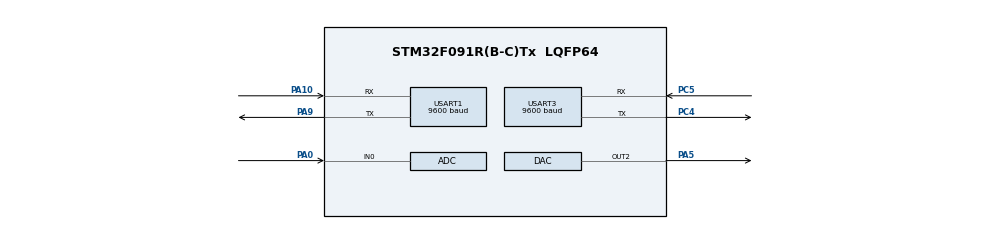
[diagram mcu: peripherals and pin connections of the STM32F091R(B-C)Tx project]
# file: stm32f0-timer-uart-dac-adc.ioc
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ADC.ExternalTrigConv=ADC_EXTERNALTRIGCONV_T3_TRGO
ADC.Resolution=ADC_RESOLUTION_8B
Mcu.Family=STM32F0
Mcu.Name=STM32F091R(B-C)Tx
Mcu.Package=LQFP64
NVIC.ADC1_COMP_IRQn=true\:0\:0\:false\:false\:true\:true\:true\:true
NVIC.TIM2_IRQn=true\:0\:0\:false\:false\:true\:true\:true\:true
NVIC.USART3_8_IRQn=true\:0\:0\:false\:false\:true\:true\:true\:true
PA0.Mode=IN0
PA0.Signal=ADC_IN0
PA10.Mode=Asynchronous
PA10.Signal=USART1_RX
PA5.Signal=COMP_DAC2_group
PA9.Mode=Asynchronous
PA9.Signal=USART1_TX
PC4.Mode=Asynchronous
PC4.Signal=USART3_TX
PC5.Mode=Asynchronous
PC5.Signal=USART3_RX
ProjectManager.HeapSize=0x200
ProjectManager.StackSize=0x400
ProjectManager.TargetToolchain=STM32CubeIDE
SH.COMP_DAC2_group.0=DAC_OUT2,DAC_OUT2
TIM2.Period=2000000-1
TIM2.Prescaler=8-1
TIM3.Period=50000-1
TIM3.Prescaler=80-1
TIM3.TIM_MasterOutputTrigger=TIM_TRGO_UPDATE
USART1.BaudRate=9600
USART1.Mode=MODE_TX_RX
USART1.VirtualMode-Asynchronous=VM_ASYNC
USART3.BaudRate=9600
USART3.VirtualMode-Asynchronous=VM_ASYNC
VP_TIM2_VS_ClockSourceINT.Mode=Internal
VP_TIM3_VS_ClockSourceINT.Mode=Internal
board=custom

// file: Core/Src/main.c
/* USER CODE BEGIN Header */
/**
  ******************************************************************************
  * @file           : main.c
  * @brief          : Main program body
  * @author         : M. Eyub Can, TECH-OHM (https://tech-ohm.com)
  ******************************************************************************
  * @attention
  *
  * Copyright (c) 2025 STMicroelectronics.
  * All rights reserved.
  *
  * This software is licensed under terms that can be found in the LICENSE file
  * in the root directory of this software component.
  * If no LICENSE file comes with this software, it is provided AS-IS.
  *
  ******************************************************************************
  */
/* USER CODE END Header */
#include "main.h"

/* USER CODE BEGIN Includes */
uint8_t dizi[50] = { // 50 values, sent one after another
  45, 198, 7, 123, 56, 214, 89, 34, 167, 92,
  201, 18, 140, 76, 255, 61, 9, 173, 48, 130,
  84, 221, 37, 159, 102, 5, 188, 66, 147, 29,
  210, 95, 12, 171, 53, 199, 81, 164, 24, 136,
  72, 205, 41, 156, 98, 15, 182, 63, 119, 231
};
// UART receive variables
volatile uint8_t rx_byte = 0;
volatile uint8_t idx = 0;
int count=0; // number of bytes sent
volatile uint8_t adc_value = 0;
/* USER CODE END Includes */

ADC_HandleTypeDef hadc;

DAC_HandleTypeDef hdac;

TIM_HandleTypeDef htim2;
TIM_HandleTypeDef htim3;

UART_HandleTypeDef huart1;
UART_HandleTypeDef huart3;

void SystemClock_Config(void);
static void MX_GPIO_Init(void);
static void MX_USART1_UART_Init(void);
static void MX_ADC_Init(void);
static void MX_DAC_Init(void);
static void MX_TIM2_Init(void);
static void MX_TIM3_Init(void);
static void MX_USART3_UART_Init(void);

/* USER CODE BEGIN 0 */
void HAL_TIM_PeriodElapsedCallback(TIM_HandleTypeDef *htim) // TIM2 overflows every 2 seconds
{
    if (htim->Instance == TIM2)
    {

        uint8_t tx = dizi[idx];
        HAL_UART_Transmit(&huart1,&tx, 1,10);
        count++;
        idx++;
        if (idx >= 50) idx = 0;
    }
}

void HAL_UART_RxCpltCallback(UART_HandleTypeDef *huart) // a byte arrived on USART3
{
    if (huart->Instance == USART3)
    {
    	if (rx_byte <= 100)
    	{
    	    HAL_DAC_SetValue(&hdac, DAC_CHANNEL_2, DAC_ALIGN_12B_R, 1241); // DAC value for 1 V
    	}
    	else if (rx_byte <= 200)
    	{
    	    HAL_DAC_SetValue(&hdac, DAC_CHANNEL_2, DAC_ALIGN_12B_R, 2482);// 2 V
    	}
    	else
    	{
    	    HAL_DAC_SetValue(&hdac, DAC_CHANNEL_2, DAC_ALIGN_12B_R, 3723);// 3 V
    	}

    	HAL_UART_Receive_IT(&huart3, (uint8_t*)&rx_byte, 1); // wait for the next byte
    }
}

void HAL_ADC_ConvCpltCallback(ADC_HandleTypeDef *hadc)
{
    if (hadc->Instance == ADC1)
    {
       adc_value = (uint8_t)HAL_ADC_GetValue(hadc);
    }
}
/* USER CODE END 0 */

int main(void)
{

  /* MCU Configuration--------------------------------------------------------*/

  /* Reset of all peripherals, Initializes the Flash interface and the Systick. */
  HAL_Init();

  /* Configure the system clock */
  SystemClock_Config();

  /* Initialize all configured peripherals */
  MX_GPIO_Init();
  MX_USART1_UART_Init();
  MX_ADC_Init();
  MX_DAC_Init();
  MX_TIM2_Init();
  MX_TIM3_Init();
  MX_USART3_UART_Init();
  /* USER CODE BEGIN 2 */
  HAL_UART_Receive_IT(&huart3, (uint8_t*)&rx_byte, 1);// start receiving on USART3
  HAL_TIM_Base_Start_IT(&htim2); // TIM2 is set to 2 seconds in the .ioc
  HAL_DAC_Start(&hdac, DAC_CHANNEL_2); // start the DAC
  HAL_TIM_Base_Start(&htim3);     // TIM3 runs and its TRGO triggers the ADC
  HAL_ADC_Start_IT(&hadc);       // ADC waits for the trigger and reads the result in an interrupt
  /* USER CODE END 2 */

  /* Infinite loop */
  while (1)
  {

  }
}

void SystemClock_Config(void)
{
  RCC_OscInitTypeDef RCC_OscInitStruct = {0};
  RCC_ClkInitTypeDef RCC_ClkInitStruct = {0};
  RCC_PeriphCLKInitTypeDef PeriphClkInit = {0};

  /** Initializes the RCC Oscillators according to the specified parameters
  * in the RCC_OscInitTypeDef structure.
  */
  RCC_OscInitStruct.OscillatorType = RCC_OSCILLATORTYPE_HSI|RCC_OSCILLATORTYPE_HSI14;
  RCC_OscInitStruct.HSIState = RCC_HSI_ON;
  RCC_OscInitStruct.HSI14State = RCC_HSI14_ON;
  RCC_OscInitStruct.HSICalibrationValue = RCC_HSICALIBRATION_DEFAULT;
  RCC_OscInitStruct.HSI14CalibrationValue = 16;
  RCC_OscInitStruct.PLL.PLLState = RCC_PLL_NONE;
  if (HAL_RCC_OscConfig(&RCC_OscInitStruct) != HAL_OK)
  {
    Error_Handler();
  }

  /** Initializes the CPU, AHB and APB buses clocks
  */
  RCC_ClkInitStruct.ClockType = RCC_CLOCKTYPE_HCLK|RCC_CLOCKTYPE_SYSCLK
                              |RCC_CLOCKTYPE_PCLK1;
  RCC_ClkInitStruct.SYSCLKSource = RCC_SYSCLKSOURCE_HSI;
  RCC_ClkInitStruct.AHBCLKDivider = RCC_SYSCLK_DIV1;
  RCC_ClkInitStruct.APB1CLKDivider = RCC_HCLK_DIV1;

  if (HAL_RCC_ClockConfig(&RCC_ClkInitStruct, FLASH_LATENCY_0) != HAL_OK)
  {
    Error_Handler();
  }
  PeriphClkInit.PeriphClockSelection = RCC_PERIPHCLK_USART3|RCC_PERIPHCLK_USART1;
  PeriphClkInit.Usart1ClockSelection = RCC_USART1CLKSOURCE_PCLK1;
  PeriphClkInit.Usart3ClockSelection = RCC_USART3CLKSOURCE_PCLK1;
  if (HAL_RCCEx_PeriphCLKConfig(&PeriphClkInit) != HAL_OK)
  {
    Error_Handler();
  }
}

static void MX_ADC_Init(void)
{

  ADC_ChannelConfTypeDef sConfig = {0};

  /** Configure the global features of the ADC (Clock, Resolution, Data Alignment and number of conversion)
  */
  hadc.Instance = ADC1;
  hadc.Init.ClockPrescaler = ADC_CLOCK_ASYNC_DIV1;
  hadc.Init.Resolution = ADC_RESOLUTION_8B;
  hadc.Init.DataAlign = ADC_DATAALIGN_RIGHT;
  hadc.Init.ScanConvMode = ADC_SCAN_DIRECTION_FORWARD;
  hadc.Init.EOCSelection = ADC_EOC_SINGLE_CONV;
  hadc.Init.LowPowerAutoWait = DISABLE;
  hadc.Init.LowPowerAutoPowerOff = DISABLE;
  hadc.Init.ContinuousConvMode = DISABLE;
  hadc.Init.DiscontinuousConvMode = DISABLE;
  hadc.Init.ExternalTrigConv = ADC_EXTERNALTRIGCONV_T3_TRGO;
  hadc.Init.ExternalTrigConvEdge = ADC_EXTERNALTRIGCONVEDGE_RISING;
  hadc.Init.DMAContinuousRequests = DISABLE;
  hadc.Init.Overrun = ADC_OVR_DATA_PRESERVED;
  if (HAL_ADC_Init(&hadc) != HAL_OK)
  {
    Error_Handler();
  }

  /** Configure for the selected ADC regular channel to be converted.
  */
  sConfig.Channel = ADC_CHANNEL_0;
  sConfig.Rank = ADC_RANK_CHANNEL_NUMBER;
  sConfig.SamplingTime = ADC_SAMPLETIME_1CYCLE_5;
  if (HAL_ADC_ConfigChannel(&hadc, &sConfig) != HAL_OK)
  {
    Error_Handler();
  }

}

static void MX_DAC_Init(void)
{

  DAC_ChannelConfTypeDef sConfig = {0};

  /** DAC Initialization
  */
  hdac.Instance = DAC;
  if (HAL_DAC_Init(&hdac) != HAL_OK)
  {
    Error_Handler();
  }

  /** DAC channel OUT2 config
  */
  sConfig.DAC_Trigger = DAC_TRIGGER_NONE;
  sConfig.DAC_OutputBuffer = DAC_OUTPUTBUFFER_ENABLE;
  if (HAL_DAC_ConfigChannel(&hdac, &sConfig, DAC_CHANNEL_2) != HAL_OK)
  {
    Error_Handler();
  }

}

static void MX_TIM2_Init(void)
{

  TIM_ClockConfigTypeDef sClockSourceConfig = {0};
  TIM_MasterConfigTypeDef sMasterConfig = {0};

  htim2.Instance = TIM2;
  htim2.Init.Prescaler = 8-1;
  htim2.Init.CounterMode = TIM_COUNTERMODE_UP;
  htim2.Init.Period = 2000000-1;
  htim2.Init.ClockDivision = TIM_CLOCKDIVISION_DIV1;
  htim2.Init.AutoReloadPreload = TIM_AUTORELOAD_PRELOAD_DISABLE;
  if (HAL_TIM_Base_Init(&htim2) != HAL_OK)
  {
    Error_Handler();
  }
  sClockSourceConfig.ClockSource = TIM_CLOCKSOURCE_INTERNAL;
  if (HAL_TIM_ConfigClockSource(&htim2, &sClockSourceConfig) != HAL_OK)
  {
    Error_Handler();
  }
  sMasterConfig.MasterOutputTrigger = TIM_TRGO_RESET;
  sMasterConfig.MasterSlaveMode = TIM_MASTERSLAVEMODE_DISABLE;
  if (HAL_TIMEx_MasterConfigSynchronization(&htim2, &sMasterConfig) != HAL_OK)
  {
    Error_Handler();
  }

}

static void MX_TIM3_Init(void)
{

  TIM_ClockConfigTypeDef sClockSourceConfig = {0};
  TIM_MasterConfigTypeDef sMasterConfig = {0};

  htim3.Instance = TIM3;
  htim3.Init.Prescaler = 80-1;
  htim3.Init.CounterMode = TIM_COUNTERMODE_UP;
  htim3.Init.Period = 50000-1;
  htim3.Init.ClockDivision = TIM_CLOCKDIVISION_DIV1;
  htim3.Init.AutoReloadPreload = TIM_AUTORELOAD_PRELOAD_DISABLE;
  if (HAL_TIM_Base_Init(&htim3) != HAL_OK)
  {
    Error_Handler();
  }
  sClockSourceConfig.ClockSource = TIM_CLOCKSOURCE_INTERNAL;
  if (HAL_TIM_ConfigClockSource(&htim3, &sClockSourceConfig) != HAL_OK)
  {
    Error_Handler();
  }
  sMasterConfig.MasterOutputTrigger = TIM_TRGO_UPDATE;
  sMasterConfig.MasterSlaveMode = TIM_MASTERSLAVEMODE_DISABLE;
  if (HAL_TIMEx_MasterConfigSynchronization(&htim3, &sMasterConfig) != HAL_OK)
  {
    Error_Handler();
  }

}

static void MX_USART1_UART_Init(void)
{

  huart1.Instance = USART1;
  huart1.Init.BaudRate = 9600;
  huart1.Init.WordLength = UART_WORDLENGTH_8B;
  huart1.Init.StopBits = UART_STOPBITS_1;
  huart1.Init.Parity = UART_PARITY_NONE;
  huart1.Init.Mode = UART_MODE_TX_RX;
  huart1.Init.HwFlowCtl = UART_HWCONTROL_NONE;
  huart1.Init.OverSampling = UART_OVERSAMPLING_16;
  huart1.Init.OneBitSampling = UART_ONE_BIT_SAMPLE_DISABLE;
  huart1.AdvancedInit.AdvFeatureInit = UART_ADVFEATURE_NO_INIT;
  if (HAL_UART_Init(&huart1) != HAL_OK)
  {
    Error_Handler();
  }

}

static void MX_USART3_UART_Init(void)
{

  huart3.Instance = USART3;
  huart3.Init.BaudRate = 9600;
  huart3.Init.WordLength = UART_WORDLENGTH_8B;
  huart3.Init.StopBits = UART_STOPBITS_1;
  huart3.Init.Parity = UART_PARITY_NONE;
  huart3.Init.Mode = UART_MODE_TX_RX;
  huart3.Init.HwFlowCtl = UART_HWCONTROL_NONE;
  huart3.Init.OverSampling = UART_OVERSAMPLING_16;
  huart3.Init.OneBitSampling = UART_ONE_BIT_SAMPLE_DISABLE;
  huart3.AdvancedInit.AdvFeatureInit = UART_ADVFEATURE_NO_INIT;
  if (HAL_UART_Init(&huart3) != HAL_OK)
  {
    Error_Handler();
  }

}

static void MX_GPIO_Init(void)
{

  /* GPIO Ports Clock Enable */
  __HAL_RCC_GPIOA_CLK_ENABLE();
  __HAL_RCC_GPIOC_CLK_ENABLE();

}

void Error_Handler(void)
{
  __disable_irq();
  while (1)
  {
  }
}
